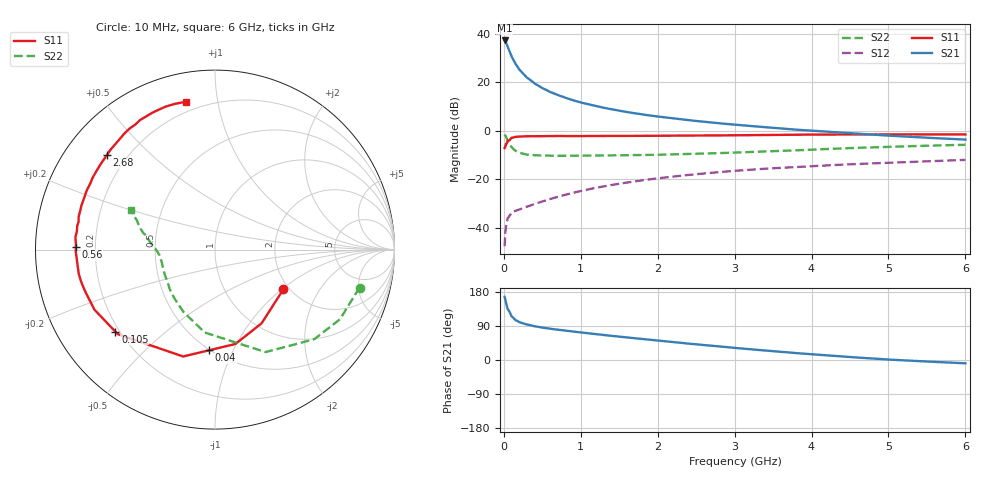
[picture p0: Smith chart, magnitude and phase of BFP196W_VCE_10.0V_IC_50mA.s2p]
! Infineon Technologies  Discrete & RF Semiconductors
! BFP196W
! VCE = 10.0V,  IC =  50mA
! Common Emitter S-Parameters:  Jan 2016
# GHz  S  MA  R  50
!  f  S11  S21  S12  S22
! GHz  MAG  ANG  MAG  ANG  MAG  ANG  MAG  ANG
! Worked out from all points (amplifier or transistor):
!   210 points, 10 MHz to 6 GHz, reference 50 ohm
!   highest |S21| = 37.2 dB at 10 MHz (marker M1)
!   |S21| within 3 dB of that: start of sweep to 54.98 MHz
!   unconditionally stable (mu >= 1): 712 MHz to 3.879 GHz
!   at 185 MHz: K = 0.51, MSG = 29.3 dB, |S12| = -32.6 dB
!   at 1.52 GHz: K = 1.11, MAG = 12.9 dB, |S12| = -21.7 dB
!   at 6 GHz: K = 0.96, MSG = 4.2 dB, |S12| = -12.0 dB
!   S11 on the Smith chart (normalised r, x): 10 MHz: 1.87, -1.02; 40 MHz: 0.50, -0.81; 105 MHz: 0.18, -0.35; 560 MHz: 0.13, +0.01; 2.68 GHz: 0.13, +0.37; 6 GHz: 0.15, +0.81
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0.01  0.4406 -30.0  72.46 166.8  0.0042 67.4  0.8324 -14.7
0.02  0.4859 -57.7  69.91 157.7  0.0082 65.0  0.7972 -29.1
0.03  0.538 -77.8  64.75 148.7  0.0111 58.7  0.7455 -42.0
0.04  0.5615 -93.3  58.61 142.1  0.0134 53.6  0.6789 -52.0
0.05  0.6213 -106.6  53.41 134.1  0.0158 50.1  0.6369 -63.7
0.1  0.718 -139.0  33.93 115.1  0.0202 38.7  0.4656 -97.0
0.105  0.7191 -140.5  32.91 114.4  0.0204 38.4  0.4558 -98.7
0.15  0.7502 -153.5  24.04 105.3  0.0224 36.3  0.389 -116.9
0.2  0.7584 -161.3  18.36 100.0  0.0239 37.8  0.3541 -129.5
0.26  0.7675 -167.0  14.44 95.8  0.026 40.6  0.3342 -139.1
0.3  0.771 -170.0  12.45 93.6  0.0273 42.3  0.3226 -144.4
0.4  0.7718 -175.4  9.408 89.0  0.031 46.2  0.3137 -152.4
0.56  0.7755 178.9  6.819 83.8  0.0375 51.5  0.3076 -160.2
0.8  0.7762 172.4  4.77 77.4  0.0481 56.3  0.3049 -166.3
1.02  0.7768 167.9  3.759 72.4  0.0585 57.9  0.3067 -169.8
1.4  0.7837 160.6  2.768 63.7  0.0764 58.6  0.3108 -173.6
2.02  0.7906 149.7  1.949 50.9  0.1056 56.2  0.321 -178.0
2.68  0.8004 139.0  1.49 38.0  0.1356 51.4  0.3421 177.3
3.1  0.8098 132.5  1.295 30.3  0.1535 47.8  0.3602 174.0
4.1  0.8344 118.8  0.981 13.7  0.1904 39.6  0.415 166.3
5.1  0.8424 108.3  0.778 0.2  0.2226 32.1  0.4705 158.9
6  0.8393 101.1  0.659 -8.7  0.2512 26.1  0.5144 154.9
